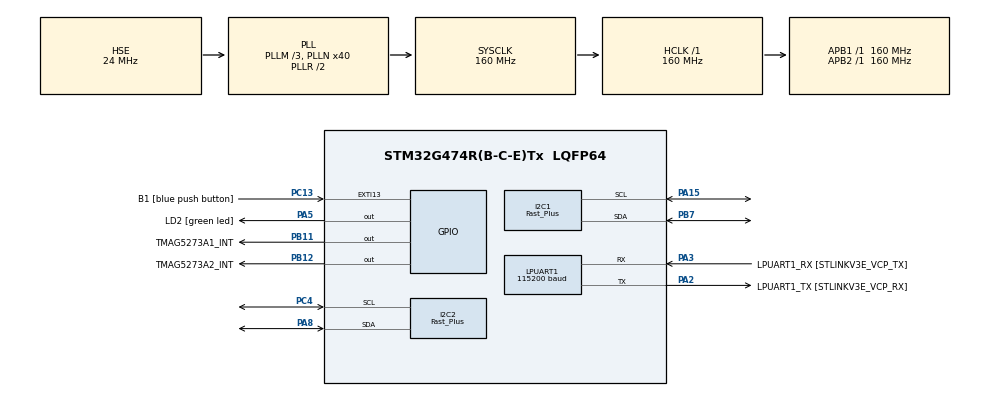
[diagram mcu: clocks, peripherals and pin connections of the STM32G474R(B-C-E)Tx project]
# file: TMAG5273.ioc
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Dma.I2C1_RX.0.Direction=DMA_PERIPH_TO_MEMORY
Dma.I2C1_RX.0.EventEnable=DISABLE
Dma.I2C1_RX.0.Instance=DMA1_Channel1
Dma.I2C1_RX.0.MemDataAlignment=DMA_MDATAALIGN_BYTE
Dma.I2C1_RX.0.MemInc=DMA_MINC_ENABLE
Dma.I2C1_RX.0.Mode=DMA_NORMAL
Dma.I2C1_RX.0.PeriphDataAlignment=DMA_PDATAALIGN_BYTE
Dma.I2C1_RX.0.PeriphInc=DMA_PINC_DISABLE
Dma.I2C1_RX.0.Polarity=HAL_DMAMUX_REQ_GEN_RISING
Dma.I2C1_RX.0.Priority=DMA_PRIORITY_HIGH
Dma.I2C1_RX.0.RequestNumber=1
Dma.I2C1_RX.0.SignalID=NONE
Dma.I2C1_RX.0.SyncEnable=DISABLE
Dma.I2C1_RX.0.SyncPolarity=HAL_DMAMUX_SYNC_NO_EVENT
Dma.I2C1_RX.0.SyncRequestNumber=1
Dma.I2C1_RX.0.SyncSignalID=NONE
Dma.I2C1_TX.1.Direction=DMA_MEMORY_TO_PERIPH
Dma.I2C1_TX.1.EventEnable=DISABLE
Dma.I2C1_TX.1.Instance=DMA1_Channel2
Dma.I2C1_TX.1.MemDataAlignment=DMA_MDATAALIGN_BYTE
Dma.I2C1_TX.1.MemInc=DMA_MINC_ENABLE
Dma.I2C1_TX.1.Mode=DMA_NORMAL
Dma.I2C1_TX.1.PeriphDataAlignment=DMA_PDATAALIGN_BYTE
Dma.I2C1_TX.1.PeriphInc=DMA_PINC_DISABLE
Dma.I2C1_TX.1.Polarity=HAL_DMAMUX_REQ_GEN_RISING
Dma.I2C1_TX.1.Priority=DMA_PRIORITY_LOW
Dma.I2C1_TX.1.RequestNumber=1
Dma.I2C1_TX.1.SignalID=NONE
Dma.I2C1_TX.1.SyncEnable=DISABLE
Dma.I2C1_TX.1.SyncPolarity=HAL_DMAMUX_SYNC_NO_EVENT
Dma.I2C1_TX.1.SyncRequestNumber=1
Dma.I2C1_TX.1.SyncSignalID=NONE
Dma.I2C2_RX.2.Direction=DMA_PERIPH_TO_MEMORY
Dma.I2C2_RX.2.EventEnable=DISABLE
Dma.I2C2_RX.2.Instance=DMA1_Channel3
Dma.I2C2_RX.2.MemDataAlignment=DMA_MDATAALIGN_BYTE
Dma.I2C2_RX.2.MemInc=DMA_MINC_ENABLE
Dma.I2C2_RX.2.Mode=DMA_NORMAL
Dma.I2C2_RX.2.PeriphDataAlignment=DMA_PDATAALIGN_BYTE
Dma.I2C2_RX.2.PeriphInc=DMA_PINC_DISABLE
Dma.I2C2_RX.2.Polarity=HAL_DMAMUX_REQ_GEN_RISING
Dma.I2C2_RX.2.Priority=DMA_PRIORITY_HIGH
Dma.I2C2_RX.2.RequestNumber=1
Dma.I2C2_RX.2.SignalID=NONE
Dma.I2C2_RX.2.SyncEnable=DISABLE
Dma.I2C2_RX.2.SyncPolarity=HAL_DMAMUX_SYNC_NO_EVENT
Dma.I2C2_RX.2.SyncRequestNumber=1
Dma.I2C2_RX.2.SyncSignalID=NONE
Dma.I2C2_TX.3.Direction=DMA_MEMORY_TO_PERIPH
Dma.I2C2_TX.3.EventEnable=DISABLE
Dma.I2C2_TX.3.Instance=DMA1_Channel4
Dma.I2C2_TX.3.MemDataAlignment=DMA_MDATAALIGN_BYTE
Dma.I2C2_TX.3.MemInc=DMA_MINC_ENABLE
Dma.I2C2_TX.3.Mode=DMA_NORMAL
Dma.I2C2_TX.3.PeriphDataAlignment=DMA_PDATAALIGN_BYTE
Dma.I2C2_TX.3.PeriphInc=DMA_PINC_DISABLE
Dma.I2C2_TX.3.Polarity=HAL_DMAMUX_REQ_GEN_RISING
Dma.I2C2_TX.3.Priority=DMA_PRIORITY_LOW
Dma.I2C2_TX.3.RequestNumber=1
Dma.I2C2_TX.3.SignalID=NONE
Dma.I2C2_TX.3.SyncEnable=DISABLE
Dma.I2C2_TX.3.SyncPolarity=HAL_DMAMUX_SYNC_NO_EVENT
Dma.I2C2_TX.3.SyncRequestNumber=1
Dma.I2C2_TX.3.SyncSignalID=NONE
Dma.Request0=I2C1_RX
Dma.Request1=I2C1_TX
Dma.Request2=I2C2_RX
Dma.Request3=I2C2_TX
I2C1.I2C_Fall_Time=0
I2C1.I2C_Rise_Time=0
I2C1.I2C_Speed_Mode=I2C_Fast_Plus
I2C1.NoStretchMode=I2C_NOSTRETCH_DISABLE
I2C1.OwnAddress=TMAG5273_ADDRESS
I2C1.Timing=0x00701F6B
I2C2.I2C_Fall_Time=2
I2C2.I2C_Rise_Time=26
I2C2.I2C_Speed_Mode=I2C_Fast_Plus
I2C2.OwnAddress=TMAG5273_ADDRESS
I2C2.Timing=0x00C01F67
LPUART1.BaudRate=115200
LPUART1.WordLength=UART_WORDLENGTH_8B
Mcu.Family=STM32G4
Mcu.Name=STM32G474R(B-C-E)Tx
Mcu.Package=LQFP64
Mcu.UserConstants=TMAG5273_ADDRESS,0x35
NVIC.DMA1_Channel1_IRQn=true\:0\:0\:false\:false\:true\:false\:true\:true
NVIC.DMA1_Channel2_IRQn=true\:0\:0\:false\:false\:true\:false\:true\:true
NVIC.DMA1_Channel3_IRQn=true\:0\:0\:false\:false\:true\:false\:true\:true
NVIC.DMA1_Channel4_IRQn=true\:0\:0\:false\:false\:true\:false\:true\:true
NVIC.EXTI15_10_IRQn=true\:0\:0\:false\:false\:true\:true\:true\:true
NVIC.PriorityGroup=NVIC_PRIORITYGROUP_4
PA13.GPIO_Label=T_SWDIO
PA13.Mode=Serial_Wire
PA13.Signal=SYS_JTMS-SWDIO
PA14.GPIO_Label=T_SWCLK
PA14.Mode=Serial_Wire
PA14.Signal=SYS_JTCK-SWCLK
PA15.GPIO_Mode=GPIO_MODE_AF_OD
PA15.GPIO_Pu=GPIO_PULLUP
PA15.Mode=I2C
PA15.Signal=I2C1_SCL
PA2.GPIO_Label=LPUART1_TX [STLINKV3E_VCP_RX]
PA2.Mode=Asynchronous
PA2.Signal=LPUART1_TX
PA3.GPIO_Label=LPUART1_RX [STLINKV3E_VCP_TX]
PA3.Mode=Asynchronous
PA3.Signal=LPUART1_RX
PA5.GPIO_Label=LD2 [green led]
PA5.Signal=GPIO_Output
PA8.Mode=I2C
PA8.Signal=I2C2_SDA
PB11.GPIO_Label=TMAG5273A1_INT
PB11.GPIO_PuPd=GPIO_NOPULL
PB11.Signal=GPIO_Output
PB12.GPIO_Label=TMAG5273A2_INT
PB12.GPIO_PuPd=GPIO_NOPULL
PB12.PinState=GPIO_PIN_RESET
PB12.Signal=GPIO_Output
PB3.GPIO_Label=T_SWO
PB3.Signal=SYS_JTDO-SWO
PB7.GPIO_Pu=GPIO_PULLUP
PB7.Mode=I2C
PB7.Signal=I2C1_SDA
PC13.GPIO_Label=B1 [blue push button]
PC13.Signal=GPXTI13
PC14-OSC32_IN.Mode=LSE-External-Oscillator
PC14-OSC32_IN.Signal=RCC_OSC32_IN
PC15-OSC32_OUT.Mode=LSE-External-Oscillator
PC15-OSC32_OUT.Signal=RCC_OSC32_OUT
PC4.Mode=I2C
PC4.Signal=I2C2_SCL
PF0-OSC_IN.Mode=HSE-External-Oscillator
PF0-OSC_IN.Signal=RCC_OSC_IN
PF1-OSC_OUT.Mode=HSE-External-Oscillator
PF1-OSC_OUT.Signal=RCC_OSC_OUT
ProjectManager.HeapSize=0x800
ProjectManager.StackSize=0x800
ProjectManager.TargetToolchain=EWARM V8.50
RCC.ADC12Freq_Value=160000000
RCC.ADC345Freq_Value=160000000
RCC.AHBFreq_Value=160000000
RCC.APB1Freq_Value=160000000
RCC.APB1TimFreq_Value=160000000
RCC.APB2Freq_Value=160000000
RCC.APB2TimFreq_Value=160000000
RCC.CortexFreq_Value=160000000
RCC.EXTERNAL_CLOCK_VALUE=12288000
RCC.HCLKFreq_Value=160000000
RCC.HSE_VALUE=24000000
RCC.HSI48_VALUE=48000000
RCC.HSI_VALUE=16000000
RCC.PLLM=RCC_PLLM_DIV3
RCC.PLLN=40
RCC.PLLSourceVirtual=RCC_PLLSOURCE_HSE
RCC.RTCClockSelection=RCC_RTCCLKSOURCE_LSE
RCC.SYSCLKFreq_VALUE=160000000
RCC.SYSCLKSource=RCC_SYSCLKSOURCE_PLLCLK
RCC.USBFreq_Value=160000000
RCC.VCOOutputFreq_Value=320000000
VP_SYS_VS_DBSignals.Mode=DisableDeadBatterySignals
board=NUCLEO-G474RE

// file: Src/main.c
/* USER CODE BEGIN Header */
/**
  ******************************************************************************
  * @file           : main.c
  * @brief          : Main program body
  ******************************************************************************
  * @attention
  *
  * Copyright (c) 2023 STMicroelectronics.
  * All rights reserved.
  *
  * This software is licensed under terms that can be found in the LICENSE file
  * in the root directory of this software component.
  * If no LICENSE file comes with this software, it is provided AS-IS.
  *
  ******************************************************************************
  */
/* USER CODE END Header */
#include "main.h"

/* USER CODE BEGIN Includes */
#include "TMAG5273.h"

//SWO printf
#include "stdio.h"
//not to be used in mc api (for memset)
#include <string.h>
/* USER CODE END Includes */

/* USER CODE BEGIN PTD */
typedef struct Sensor_Str
{
  char Bx[10];
  char BxRaw[10];
  char By[10];
  char ByRaw[10];
  char Bz[10];
  char BzRaw[10];
  char T[10];
  char angle[10];
  char magn[10];
}Sensor_Str_t;

/* USER CODE END PTD */

/* USER CODE BEGIN PD */
#define USE_TMAG5273_A1 1

#define getName(var)  #var
#define BYTE_TO_BINARY_PATTERN "%c%c%c%c%c%c%c%c\n"
#define BYTE_TO_BINARY(byte)  \
  (byte & 0x80 ? '1' : '0'), \
  (byte & 0x40 ? '1' : '0'), \
  (byte & 0x20 ? '1' : '0'), \
  (byte & 0x10 ? '1' : '0'), \
  (byte & 0x08 ? '1' : '0'), \
  (byte & 0x04 ? '1' : '0'), \
  (byte & 0x02 ? '1' : '0'), \
  (byte & 0x01 ? '1' : '0')
/* USER CODE END PD */

/* USER CODE BEGIN PM */

#if (USE_TMAG5273_A1 == 0) && (USE_TMAG5273_A2 == 0)
#error "No Sensor defined"
#endif

/* USER CODE END PM */

I2C_HandleTypeDef hi2c1;
I2C_HandleTypeDef hi2c2;
DMA_HandleTypeDef hdma_i2c1_rx;
DMA_HandleTypeDef hdma_i2c1_tx;
DMA_HandleTypeDef hdma_i2c2_rx;
DMA_HandleTypeDef hdma_i2c2_tx;

UART_HandleTypeDef hlpuart1;

/* USER CODE BEGIN PV */
#if (USE_TMAG5273_A1 == 1)
TMAG5273_Handle_t htmag5273_1 =
{
  .pI2c = &hi2c1,
  .address = TMAG5273_DEFAULT_ADDR, //0x41,//
  .magTempcoMode = TMAG5273_NO_MAG_TEMPCO,
  .convAvgMode = TMAG5273_CONV_AVG_32X,
  .readMode = TMAG5273_READ_MODE_STANDARD,
  .lplnMode = TMAG5273_LOW_NOISE,
  .operatingMode = TMAG5273_OPERATING_MODE_STANDBY,
  .magXYRange = TMAG5273_MAG_RANGE_40MT_133MT,
  .magZRange = TMAG5273_MAG_RANGE_80MT_266MT,
  .tempChEn = TMAG5273_TEMP_CH_DISABLED,
  .angEn = TMAG5273_ANG_X_Y,
  .magChEn = TMAG5276_MAG_X_Y,
  .crcEna = TMAG5273_CRC_EN,
  .sensor_id = 0
};
#endif

#if (USE_TMAG5273_A2 == 1)
TMAG5273_Handle_t htmag5273_2 =
{
  .pI2c = &hi2c2,
  .address = TMAG5273_DEFAULT_ADDR,// 0x41
  .magTempcoMode = TMAG5273_NO_MAG_TEMPCO,
  .convAvgMode = TMAG5273_CONV_AVG_32X,
  .readMode = TMAG5273_READ_MODE_STANDARD,
  .lplnMode = TMAG5273_LOW_NOISE,
  .operatingMode = TMAG5273_OPERATING_MODE_STANDBY,
  .magXYRange = TMAG5273_MAG_RANGE_40MT_133MT,
  .magZRange = TMAG5273_MAG_RANGE_80MT_266MT,
  .tempChEn = TMAG5273_TEMP_CH_DISABLED,
  .angEn = TMAG5273_ANG_X_Y,
  .magChEn = TMAG5276_MAG_X_Y,
  .crcEna = TMAG5273_CRC_EN,
  .sensor_id = 1
};
#endif
/* USER CODE END PV */

void SystemClock_Config(void);
static void MX_GPIO_Init(void);
static void MX_DMA_Init(void);
static void MX_I2C1_Init(void);
static void MX_LPUART1_UART_Init(void);
static void MX_I2C2_Init(void);
/* USER CODE BEGIN PFP */
uint8_t read_all_sensor_data(TMAG5273_Handle_t * pHandle, char * pBuff, uint32_t * len);
/* USER CODE END PFP */

/* USER CODE BEGIN 0 */

/**
  * @brief  Test CRC (ref 7.5.1.3.6 I2C Read CRC)
  * I2C Data 00h : CRC = F3h
  * I2C Data FFh : CRC = 00h
  * I2C Data 80h : CRC = 7Ah
  * I2C Data 4Ch : CRC = 10h
  * I2C Data E0h : CRC = 5Dh
  * I2C Data 00000000h : CRC = D1h
  * I2C Data FFFFFFFFh : CRC = 0Fh
  * @retval void
  */
void testCrc(void)
{
  uint8_t data[10];
  data[0] = 0x00;

  if(TMAG5273_calculateCRC( data, 1 ) != 0xF3)
    Error_Handler();

  data[0] = 0xFF;
  if(TMAG5273_calculateCRC( data, 1 ) != 0x00)
    Error_Handler();

  data[0] = 0xFF;
  data[1] = 0xFF;
  data[2] = 0xFF;
  data[3] = 0xFF;
  if(TMAG5273_calculateCRC( data, 4 ) != 0x0F)
    Error_Handler();

  data[0] = 0;
  data[1] = 0;
  data[2] = 0;
  data[3] = 0;
  if(TMAG5273_calculateCRC( data, 4 ) != 0xD1)
    Error_Handler();

}

/**
  * @brief  read sensor data, appends printout string and trigger conversion
  * @param TMAG5273_Handle_t the sensor handle
  * @param int8_t pointer the printout buffer
  * @param uint16_t pointer the Populated buffer length (appends)
  * @retval uint8_t 0 Success else failed
  */
uint8_t read_all_sensor_data(TMAG5273_Handle_t * pHandle, char * pBuff, uint32_t * len)
{
  uint8_t ret;

  TMAG5273_Sensor_Data_t sensor_data;
  Sensor_Str_t sensor_str;

  memset((void*)&sensor_data, 0, sizeof(sensor_data));

  ret = TMAG5273_ReadSensorData(pHandle, &sensor_data);

  sprintf(sensor_str.Bx,"%5.4f", sensor_data.axis.Bx);
  sprintf(sensor_str.BxRaw,"%d", htmag5273_1.raw[1]);
  sprintf(sensor_str.By,"%5.4f", sensor_data.axis.By);
  sprintf(sensor_str.ByRaw,"%d", htmag5273_1.raw[2]);
  sprintf(sensor_str.Bz,"%5.4f", sensor_data.axis.Bz);
  sprintf(sensor_str.BzRaw,"%d", htmag5273_1.raw[3]);
  sprintf(sensor_str.T,"%5.4f", sensor_data.temperature);
  sprintf(sensor_str.angle,"%3.2f", sensor_data.angle);
  sprintf(sensor_str.magn,"%5.4f", sensor_data.magnitude);

  *len += sprintf( pBuff,"%9s, %9s, %9s, %9s, %9s, %9s, %9s,     0x%02X, %8s, %9s,", \
          sensor_str.Bx, sensor_str.BxRaw, sensor_str.By, sensor_str.ByRaw, sensor_str.Bz, sensor_str.BzRaw,  sensor_str.T, sensor_data.status, sensor_str.angle, sensor_str.magn);

  TMAG5273_TriggerConversion(pHandle);

  return ret;
}

/**
  * @brief  read and print sensor configuration
  * @param TMAG5273_Handle_t the sensor handle
  * @retval void
  */
void print_sensor_config(TMAG5273_Handle_t * pHandle)
{
  uint8_t ret;
  uint8_t sensor_id = pHandle->sensor_id + 1;

  printf("*****************************************************************\n"  );
  printf("SENSOR %d Info: \n", sensor_id );
  printf("I2C_ADDRESS:            0x%02X\n", pHandle->address);
  printf("DEVICE_ID:              0x%02X\n", pHandle->deviceId);
  printf("MANUFACTURER_ID:      0x%04X\n", pHandle->manufactorerId);

  printf("*****************************************************************\n"  );
  printf("SENSOR %d Configuration: \n", sensor_id);
  TMAG5273_ReadRegister(pHandle, DEVICE_CONFIG_1, 1 , &ret);
  printf("DEVICE_CONFIG_1 (0x%X):      "BYTE_TO_BINARY_PATTERN, ret, BYTE_TO_BINARY(ret));

  TMAG5273_ReadRegister(pHandle, DEVICE_CONFIG_2, 1 , &ret);
  printf("DEVICE_CONFIG_2 (0x%2X):      "BYTE_TO_BINARY_PATTERN, ret, BYTE_TO_BINARY(ret));

  TMAG5273_ReadRegister(pHandle, SENSOR_CONFIG_1, 1 , &ret);
  printf("SENSOR_CONFIG_1 (0x%02X):      "BYTE_TO_BINARY_PATTERN, ret, BYTE_TO_BINARY(ret));

  TMAG5273_ReadRegister(pHandle, SENSOR_CONFIG_2, 1 , &ret);
  printf("SENSOR_CONFIG_2 (0x%02X):      "BYTE_TO_BINARY_PATTERN, ret, BYTE_TO_BINARY(ret));

  TMAG5273_ReadRegister(pHandle, X_THR_CONFIG, 1 , &ret);
  printf("X_THR_CONFIG (0x%02X):         "BYTE_TO_BINARY_PATTERN, ret, BYTE_TO_BINARY(ret));

  TMAG5273_ReadRegister(pHandle, Y_THR_CONFIG, 1 , &ret);
  printf("Y_THR_CONFIG (0x%02X):         "BYTE_TO_BINARY_PATTERN, ret, BYTE_TO_BINARY(ret));

  TMAG5273_ReadRegister(pHandle, Z_THR_CONFIG, 1 , &ret);
  printf("Z_THR_CONFIG (0x%02X):         "BYTE_TO_BINARY_PATTERN, ret, BYTE_TO_BINARY(ret));

  TMAG5273_ReadRegister(pHandle, T_CONFIG, 1 , &ret);
  printf("T_CONFIG (0x%02X):             "BYTE_TO_BINARY_PATTERN, ret, BYTE_TO_BINARY(ret));

  TMAG5273_ReadRegister(pHandle, INT_CONFIG_1, 1 , &ret);
  printf("INT_CONFIG_1 (0x%02X):         "BYTE_TO_BINARY_PATTERN, ret, BYTE_TO_BINARY(ret));

  TMAG5273_ReadRegister(pHandle, MAG_GAIN_CONFIG, 1 , &ret);
  printf("MAG_GAIN_CONFIG (0x%02X):      "BYTE_TO_BINARY_PATTERN, ret, BYTE_TO_BINARY(ret));

  TMAG5273_ReadRegister(pHandle, MAG_OFFSET_CONFIG_1, 1 , &ret);
  printf("MAG_OFFSET_CONFIG_1 (0x%2X):  "BYTE_TO_BINARY_PATTERN, ret, BYTE_TO_BINARY(ret));

  TMAG5273_ReadRegister(pHandle, MAG_OFFSET_CONFIG_2, 1 , &ret);
  printf("MAG_OFFSET_CONFIG_2 (0x%2X):  "BYTE_TO_BINARY_PATTERN, ret, BYTE_TO_BINARY(ret));

  TMAG5273_ReadRegister(pHandle, DEVICE_STATUS, 1 , &ret);
  printf("DEVICE_STATUS (0x%2X):        "BYTE_TO_BINARY_PATTERN, ret, BYTE_TO_BINARY(ret));

  printf("*****************************************************************\n\n"  );
}

/* USER CODE END 0 */

int main(void)
{
  /* USER CODE BEGIN 1 */
  uint8_t retA1 = 0 , retA2 = 0;
  uint32_t timeMs;
  char timeMsStr[25];
  uint8_t data[100];
  uint8_t cnt = 0;
  /* USER CODE END 1 */

  /* MCU Configuration--------------------------------------------------------*/

  /* Reset of all peripherals, Initializes the Flash interface and the Systick. */
  HAL_Init();

  /* Configure the system clock */
  SystemClock_Config();

  /* Initialize all configured peripherals */
  MX_GPIO_Init();
  MX_DMA_Init();
  MX_I2C1_Init();
  MX_LPUART1_UART_Init();
  MX_I2C2_Init();
  /* USER CODE BEGIN 2 */

  testCrc();

  //Test Init
#if (USE_TMAG5273_A1 == 1)

  TMAG5273_Init(&htmag5273_1);

  HAL_Delay(20);
  //TMAG5273_ModifyI2CAddress(&htmag5273_1, 0x41);
//  TMAG5273_ConfigOperatingMode(&htmag5273_1, TMAG5273_OPERATING_MODE_STANDBY);
//  TMAG5273_ConfigReadMode(&htmag5273_1, TMAG5273_READ_MODE_SENSOR8);
//  //TMAG5273_ConfigXYMagRange(&htmag5273_1, TMAG5273_MAG_RANGE_40MT_133MT);
//  TMAG5273_ConfigZMagRange(&htmag5273_1, TMAG5273_MAG_RANGE_80MT_266MT);
//  TMAG5273_ConfigLplnMode(&htmag5273_1, TMAG5273_LOW_NOISE);
//  TMAG5273_ConfigMagTempcoMode(&htmag5273_1, TMAG5273_MAG_TEMPCO_NdBFe);
//  TMAG5273_ConfigConvAvgMode(&htmag5273_1, TMAG5273_CONV_AVG_32X);
//  TMAG5273_ConfigTempChEnabled(&htmag5273_1, 1);
//    TMAG5273_ConfigCrc(&htmag5273_1, TMAG5273_CRC_EN);

//  print_sensor_config(&htmag5273_1);

//  TMAG5273_TriggerConversion(&htmag5273_1);

  HAL_Delay(1000);
  TMAG5273_EnableTrigger( &htmag5273_1, 1);
  printf("Ret %d, reg 0x%x, Data [ 0x%x, 0x%x, 0x%x, 0x%x ], crc 0x%x\n",TMAG5273_ReadRegister( &htmag5273_1, 0, 4, data ), 0, data[0], data[1], data[2], data[3], htmag5273_1.lastCrc );

//  printf("Test Read Temperature %f\n", TMAG5273_ReadTemperature(&htmag5273_1));

//  TMAG5273_ConfigCrc(&htmag5273_1, TMAG5273_CRC_EN);
// TMAG5273_EnableTrigger( &htmag5273_1, 1);
//  TMAG5273_TriggerConversion(&htmag5273_1);
//  while( cnt++ < (DEVICE_STATUS -4))
//  {
//    HAL_Delay(1000);
//    printf("Ret %d, reg 0x%x, Data [ 0x%x, 0x%x, 0x%x, 0x%x ], crc 0x%x\n",TMAG5273_ReadRegister( &htmag5273_1, cnt, 4, data ), cnt, data[0], data[1], data[2], data[3], data[4] );
//  }

  cnt = 0;
  while( cnt++ < 10)
  {
    TMAG5273_TriggerConversion(&htmag5273_1);
    HAL_Delay(1000);
    printf("Ret %d, reg 0x%x, Data [ 0x%x, 0x%x, 0x%x, 0x%x ], crc 0x%x\n",TMAG5273_ReadRegister( &htmag5273_1, X_MSB_RESULT, 4, data ), X_MSB_RESULT, data[0], data[1], data[2], data[3], data[4] );
  }

  TMAG5273_EnableTrigger( &htmag5273_1, 0);

  TMAG5273_ConfigReadMode(&htmag5273_1, TMAG5273_READ_MODE_SENSOR8);

  TMAG5273_ReadRegister( &htmag5273_1, T_MSB_RESULT, 20, data );

  TMAG5273_TriggerConversion(&htmag5273_1);

  HAL_Delay(50);

  TMAG5273_ConfigReadMode(&htmag5273_1, TMAG5273_READ_MODE_SENSOR16);

  TMAG5273_ReadRegister( &htmag5273_1, T_MSB_RESULT, 20, data );

  TMAG5273_ConfigReadMode(&htmag5273_1, TMAG5273_READ_MODE_STANDARD);

#endif

#if (USE_TMAG5273_A2 == 1)

  TMAG5273_Init(&htmag5273_2);
  TMAG5273_ModifyI2CAddress(&htmag5273_2, 0x42);
  TMAG5273_ConfigOperatingMode(&htmag5273_2, TMAG5273_OPERATING_MODE_STANDBY);
//  TMAG5273_ConfigReadMode(&htmag5273_2, TMAG5273_READ_MODE_SENSOR8);
  TMAG5273_ConfigZMagRange(&htmag5273_2, TMAG5273_MAG_RANGE_80MT_266MT);
  //TMAG5273_ConfigXYMagRange(&htmag5273_2, TMAG5273_MAG_RANGE_40MT_133MT);
  TMAG5273_ConfigLplnMode(&htmag5273_2, TMAG5273_LOW_NOISE);
  TMAG5273_ConfigMagTempcoMode(&htmag5273_2, TMAG5273_MAG_TEMPCO_NdBFe);
  TMAG5273_ConfigConvAvgMode(&htmag5273_2, TMAG5273_CONV_AVG_32X);
  TMAG5273_ConfigTempChEnabled(&htmag5273_2, 1);

  print_sensor_config(&htmag5273_2);

  TMAG5273_TriggerConversion(&htmag5273_2);

  HAL_Delay(50);

  printf("Test Read Temperature %f\n", TMAG5273_ReadTemperature(&htmag5273_1));
  TMAG5273_ReadRegister( &htmag5273_2, T_MSB_RESULT, 4, data );

#endif

  /* USER CODE END 2 */

  /* Infinite loop */
  /* USER CODE BEGIN WHILE */

  HAL_Delay(500);
#if (USE_TMAG5273_A1 == 1) && (USE_TMAG5273_A2 == 1)
  printf("%20s, %9s, %9s, %9s, %9s, %9s, %9s, %9s, %6s, %8s, %9s, \
%9s, %9s, %9s, %9s, %9s, %9s, %9s, %6s, %8s, %9s, %s\n","Time ms", "Dev1 X mT", "X Raw", "Y mT", "Y Raw", "Z mT", "Z Raw", "Temp", "ConvStat", "Angle", "Magn mT", \
         "Dev2 X mT", "X Raw", "Y mT", "Y Raw", "Z mT", "Z Raw", "Temp", "ConvStat", "Angle", "Magn mT", "Stat");
#else
  printf("%20s, %9s, %9s, %9s, %9s, %9s, %9s, %9s, %6s, %8s, %9s, %s\n"\
    ,"Time ms", "Dev X mT", "X Raw", "Y mT", "Y Raw", "Z mT", "Z Raw", "Temp", "ConvStat", "Angle", "Magn mT", "Stat");
#endif

#if (USE_TMAG5273_A1 == 1)
  TMAG5273_TriggerConversion(&htmag5273_1);
#endif

#if (USE_TMAG5273_A2 == 1)
  TMAG5273_TriggerConversion(&htmag5273_2);
#endif

  HAL_Delay(50);

  while (1)
  {
    char print_buffer[512];

    uint32_t size = 0;
    timeMs = HAL_GetTick();

    memset(print_buffer, 0 , sizeof(print_buffer));

    sprintf(timeMsStr,"%d", timeMs);
    size = sprintf(print_buffer,"%20s, ", timeMsStr);

#if ( USE_TMAG5273_A1 == 1 )
    retA1 = read_all_sensor_data(&htmag5273_1, &print_buffer[size], &size);
#endif

#if ( USE_TMAG5273_A2 == 1 )
    retA2 = read_all_sensor_data(&htmag5273_2, &print_buffer[size], &size);
#endif

    if(!retA1 && !retA2)
      size += sprintf(&print_buffer[size]," OK\n");
    else if(!retA1 && retA2)
      size += sprintf(&print_buffer[size]," Sensor 2 Failed\n");
    else if(retA1 && !retA2)
      size += sprintf(&print_buffer[size]," Sensor 1 Failed\n");
    else if(retA1 && retA2)
      size += sprintf(&print_buffer[size]," Sensor 1 and 2 Failed\n");

    printf(print_buffer);

    /* USER CODE END WHILE */

    /* USER CODE BEGIN 3 */
    HAL_Delay(50);
  }
  /* USER CODE END 3 */
}

void SystemClock_Config(void)
{
  RCC_OscInitTypeDef RCC_OscInitStruct = {0};
  RCC_ClkInitTypeDef RCC_ClkInitStruct = {0};

  /** Configure the main internal regulator output voltage
  */
  HAL_PWREx_ControlVoltageScaling(PWR_REGULATOR_VOLTAGE_SCALE1_BOOST);

  /** Initializes the RCC Oscillators according to the specified parameters
  * in the RCC_OscInitTypeDef structure.
  */
  RCC_OscInitStruct.OscillatorType = RCC_OSCILLATORTYPE_HSE;
  RCC_OscInitStruct.HSEState = RCC_HSE_ON;
  RCC_OscInitStruct.PLL.PLLState = RCC_PLL_ON;
  RCC_OscInitStruct.PLL.PLLSource = RCC_PLLSOURCE_HSE;
  RCC_OscInitStruct.PLL.PLLM = RCC_PLLM_DIV3;
  RCC_OscInitStruct.PLL.PLLN = 40;
  RCC_OscInitStruct.PLL.PLLP = RCC_PLLP_DIV2;
  RCC_OscInitStruct.PLL.PLLQ = RCC_PLLQ_DIV2;
  RCC_OscInitStruct.PLL.PLLR = RCC_PLLR_DIV2;
  if (HAL_RCC_OscConfig(&RCC_OscInitStruct) != HAL_OK)
  {
    Error_Handler();
  }

  /** Initializes the CPU, AHB and APB buses clocks
  */
  RCC_ClkInitStruct.ClockType = RCC_CLOCKTYPE_HCLK|RCC_CLOCKTYPE_SYSCLK
                              |RCC_CLOCKTYPE_PCLK1|RCC_CLOCKTYPE_PCLK2;
  RCC_ClkInitStruct.SYSCLKSource = RCC_SYSCLKSOURCE_PLLCLK;
  RCC_ClkInitStruct.AHBCLKDivider = RCC_SYSCLK_DIV1;
  RCC_ClkInitStruct.APB1CLKDivider = RCC_HCLK_DIV1;
  RCC_ClkInitStruct.APB2CLKDivider = RCC_HCLK_DIV1;

  if (HAL_RCC_ClockConfig(&RCC_ClkInitStruct, FLASH_LATENCY_4) != HAL_OK)
  {
    Error_Handler();
  }
}

static void MX_I2C1_Init(void)
{

  hi2c1.Instance = I2C1;
  hi2c1.Init.Timing = 0x00701F6B;
  hi2c1.Init.OwnAddress1 = TMAG5273_ADDRESS;
  hi2c1.Init.AddressingMode = I2C_ADDRESSINGMODE_7BIT;
  hi2c1.Init.DualAddressMode = I2C_DUALADDRESS_DISABLE;
  hi2c1.Init.OwnAddress2 = 0;
  hi2c1.Init.OwnAddress2Masks = I2C_OA2_NOMASK;
  hi2c1.Init.GeneralCallMode = I2C_GENERALCALL_DISABLE;
  hi2c1.Init.NoStretchMode = I2C_NOSTRETCH_DISABLE;
  if (HAL_I2C_Init(&hi2c1) != HAL_OK)
  {
    Error_Handler();
  }

  /** Configure Analogue filter
  */
  if (HAL_I2CEx_ConfigAnalogFilter(&hi2c1, I2C_ANALOGFILTER_ENABLE) != HAL_OK)
  {
    Error_Handler();
  }

  /** Configure Digital filter
  */
  if (HAL_I2CEx_ConfigDigitalFilter(&hi2c1, 0) != HAL_OK)
  {
    Error_Handler();
  }

  /** I2C Fast mode Plus enable
  */
  __HAL_SYSCFG_FASTMODEPLUS_ENABLE(I2C_FASTMODEPLUS_I2C1);

}

static void MX_I2C2_Init(void)
{

  hi2c2.Instance = I2C2;
  hi2c2.Init.Timing = 0x00C01F67;
  hi2c2.Init.OwnAddress1 = 106;
  hi2c2.Init.AddressingMode = I2C_ADDRESSINGMODE_7BIT;
  hi2c2.Init.DualAddressMode = I2C_DUALADDRESS_DISABLE;
  hi2c2.Init.OwnAddress2 = 0;
  hi2c2.Init.OwnAddress2Masks = I2C_OA2_NOMASK;
  hi2c2.Init.GeneralCallMode = I2C_GENERALCALL_DISABLE;
  hi2c2.Init.NoStretchMode = I2C_NOSTRETCH_DISABLE;
  if (HAL_I2C_Init(&hi2c2) != HAL_OK)
  {
    Error_Handler();
  }

  /** Configure Analogue filter
  */
  if (HAL_I2CEx_ConfigAnalogFilter(&hi2c2, I2C_ANALOGFILTER_ENABLE) != HAL_OK)
  {
    Error_Handler();
  }

  /** Configure Digital filter
  */
  if (HAL_I2CEx_ConfigDigitalFilter(&hi2c2, 0) != HAL_OK)
  {
    Error_Handler();
  }

  /** I2C Fast mode Plus enable
  */
  __HAL_SYSCFG_FASTMODEPLUS_ENABLE(I2C_FASTMODEPLUS_I2C2);

}

static void MX_LPUART1_UART_Init(void)
{

  hlpuart1.Instance = LPUART1;
  hlpuart1.Init.BaudRate = 115200;
  hlpuart1.Init.WordLength = UART_WORDLENGTH_8B;
  hlpuart1.Init.StopBits = UART_STOPBITS_1;
  hlpuart1.Init.Parity = UART_PARITY_NONE;
  hlpuart1.Init.Mode = UART_MODE_TX_RX;
  hlpuart1.Init.HwFlowCtl = UART_HWCONTROL_NONE;
  hlpuart1.Init.OneBitSampling = UART_ONE_BIT_SAMPLE_DISABLE;
  hlpuart1.Init.ClockPrescaler = UART_PRESCALER_DIV1;
  hlpuart1.AdvancedInit.AdvFeatureInit = UART_ADVFEATURE_NO_INIT;
  if (HAL_UART_Init(&hlpuart1) != HAL_OK)
  {
    Error_Handler();
  }
  if (HAL_UARTEx_SetTxFifoThreshold(&hlpuart1, UART_TXFIFO_THRESHOLD_1_8) != HAL_OK)
  {
    Error_Handler();
  }
  if (HAL_UARTEx_SetRxFifoThreshold(&hlpuart1, UART_RXFIFO_THRESHOLD_1_8) != HAL_OK)
  {
    Error_Handler();
  }
  if (HAL_UARTEx_DisableFifoMode(&hlpuart1) != HAL_OK)
  {
    Error_Handler();
  }

}

static void MX_DMA_Init(void)
{

  /* DMA controller clock enable */
  __HAL_RCC_DMAMUX1_CLK_ENABLE();
  __HAL_RCC_DMA1_CLK_ENABLE();

  /* DMA interrupt init */
  /* DMA1_Channel1_IRQn interrupt configuration */
  HAL_NVIC_SetPriority(DMA1_Channel1_IRQn, 0, 0);
  HAL_NVIC_EnableIRQ(DMA1_Channel1_IRQn);
  /* DMA1_Channel2_IRQn interrupt configuration */
  HAL_NVIC_SetPriority(DMA1_Channel2_IRQn, 0, 0);
  HAL_NVIC_EnableIRQ(DMA1_Channel2_IRQn);
  /* DMA1_Channel3_IRQn interrupt configuration */
  HAL_NVIC_SetPriority(DMA1_Channel3_IRQn, 0, 0);
  HAL_NVIC_EnableIRQ(DMA1_Channel3_IRQn);
  /* DMA1_Channel4_IRQn interrupt configuration */
  HAL_NVIC_SetPriority(DMA1_Channel4_IRQn, 0, 0);
  HAL_NVIC_EnableIRQ(DMA1_Channel4_IRQn);

}

static void MX_GPIO_Init(void)
{
  GPIO_InitTypeDef GPIO_InitStruct = {0};

  /* GPIO Ports Clock Enable */
  __HAL_RCC_GPIOC_CLK_ENABLE();
  __HAL_RCC_GPIOF_CLK_ENABLE();
  __HAL_RCC_GPIOA_CLK_ENABLE();
  __HAL_RCC_GPIOB_CLK_ENABLE();

  /*Configure GPIO pin Output Level */
  HAL_GPIO_WritePin(LD2_GPIO_Port, LD2_Pin, GPIO_PIN_RESET);

  /*Configure GPIO pin Output Level */
  HAL_GPIO_WritePin(GPIOB, TMAG5273A1_INT_Pin|TMAG5273A2_INT_Pin, GPIO_PIN_RESET);

  /*Configure GPIO pin : B1_Pin */
  GPIO_InitStruct.Pin = B1_Pin;
  GPIO_InitStruct.Mode = GPIO_MODE_IT_RISING;
  GPIO_InitStruct.Pull = GPIO_NOPULL;
  HAL_GPIO_Init(B1_GPIO_Port, &GPIO_InitStruct);

  /*Configure GPIO pin : LD2_Pin */
  GPIO_InitStruct.Pin = LD2_Pin;
  GPIO_InitStruct.Mode = GPIO_MODE_OUTPUT_PP;
  GPIO_InitStruct.Pull = GPIO_NOPULL;
  GPIO_InitStruct.Speed = GPIO_SPEED_FREQ_LOW;
  HAL_GPIO_Init(LD2_GPIO_Port, &GPIO_InitStruct);

  /*Configure GPIO pins : TMAG5273A1_INT_Pin TMAG5273A2_INT_Pin */
  GPIO_InitStruct.Pin = TMAG5273A1_INT_Pin|TMAG5273A2_INT_Pin;
  GPIO_InitStruct.Mode = GPIO_MODE_OUTPUT_PP;
  GPIO_InitStruct.Pull = GPIO_NOPULL;
  GPIO_InitStruct.Speed = GPIO_SPEED_FREQ_LOW;
  HAL_GPIO_Init(GPIOB, &GPIO_InitStruct);

  /* EXTI interrupt init*/
  HAL_NVIC_SetPriority(EXTI15_10_IRQn, 0, 0);
  HAL_NVIC_EnableIRQ(EXTI15_10_IRQn);

}

void Error_Handler(void)
{
  /* USER CODE BEGIN Error_Handler_Debug */
  /* User can add his own implementation to report the HAL error return state */
  printf("Error Handler - try power cycling the TMAG...\n");
  __disable_irq();
    while (1)
  {
  }
  /* USER CODE END Error_Handler_Debug */
}
